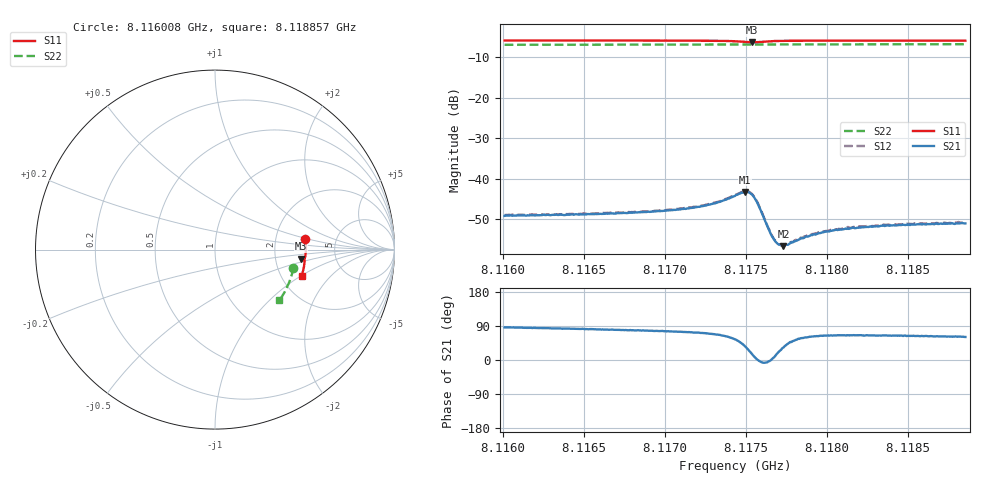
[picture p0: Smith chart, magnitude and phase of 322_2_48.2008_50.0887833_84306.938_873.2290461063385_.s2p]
#  HZ  S  RI  R  50.00
! Rohde & Schwarz Vector Network Analyzer
! Rohde-Schwarz,ZNB20-2Port,1311601062101988,3.16
! Created: UTC 3/20/2024, 11:50:31 AM
! freq[Hz]  re:S11  im:S11  re:S21  im:S21  re:S12  im:S12  re:S22  im:S22
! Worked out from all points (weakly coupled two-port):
!   401 points, 8.116008 GHz to 8.118857 GHz, reference 50 ohm
!   highest |S21| = -43.27 dB at 8.117497 GHz (marker M1); lowest = -56.7 dB at 8.117732 GHz (marker M2)
!   lowest |S11| = -6.4 dB at 8.11754 GHz (marker M3), VSWR 2.85, Z = 140 - j18.5 ohm
!   |S11| at or under -10 dB: nowhere
!   |S22| runs from -7.0 to -6.8 dB; largest |S21 - S12| = 0.00019
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8.1160085e9  0.5041 0.0576  0.000234 0.00347  0.000284 0.00355  0.4367 -0.1019
8.1164857e9  0.5063 0.0217  0.0005 0.0036  0.000555 0.00363  0.4293 -0.1343
8.1169629e9  0.5055 -0.0152  0.000946 0.00387  0.000982 0.0039  0.4195 -0.1658
8.1172264e9  0.5029 -0.0371  0.00146 0.00434  0.00151 0.00442  0.4131 -0.1832
8.1173261e9  0.5002 -0.0464  0.00201 0.0047  0.00207 0.00473  0.4103 -0.1896
8.117433e9  0.4929 -0.057  0.00356 0.00499  0.00366 0.00504  0.407 -0.1966
8.1174971e9  0.4826 -0.0583  0.00559 0.00398  0.00572 0.00403  0.4049 -0.2004
8.1175185e9  0.4793 -0.0553  0.0061 0.00293  0.00629 0.00291  0.4041 -0.2015
8.1175398e9  0.4783 -0.0509  0.00609 0.0016  0.00622 0.00156  0.4036 -0.2027
8.1175541e9  0.4793 -0.0481  0.00573 0.000787  0.00583 0.000746  0.4032 -0.2032
8.1175754e9  0.4825 -0.0451  0.00482 -3.77e-05  0.00494 -0.000101  0.4028 -0.2045
8.1176467e9  0.4939 -0.0482  0.00224 -0.000114  0.00231 -0.00013  0.4013 -0.209
8.1176752e9  0.4962 -0.0516  0.00174 0.000218  0.00176 0.000238  0.4007 -0.2109
8.1177036e9  0.4976 -0.0548  0.00143 0.00057  0.00145 0.000536  0.3997 -0.2127
8.1177321e9  0.4984 -0.0582  0.00124 0.000796  0.00128 0.00086  0.399 -0.2147
8.117782e9  0.4989 -0.0635  0.00111 0.00121  0.0011 0.00124  0.3974 -0.2179
8.1178247e9  0.4991 -0.0674  0.00098 0.00146  0.00102 0.00148  0.396 -0.2206
8.1179102e9  0.4986 -0.0752  0.000943 0.00177  0.00102 0.00181  0.3932 -0.2262
8.1180384e9  0.4973 -0.0859  0.000992 0.00208  0.00103 0.00209  0.3891 -0.2341
8.1181239e9  0.4961 -0.0928  0.001 0.00218  0.00106 0.00223  0.3862 -0.2393
8.1183874e9  0.492 -0.1128  0.00114 0.00236  0.00119 0.00242  0.3768 -0.2552
8.1188575e9  0.4826 -0.1471  0.00137 0.00245  0.00141 0.0025  0.3584 -0.2826
